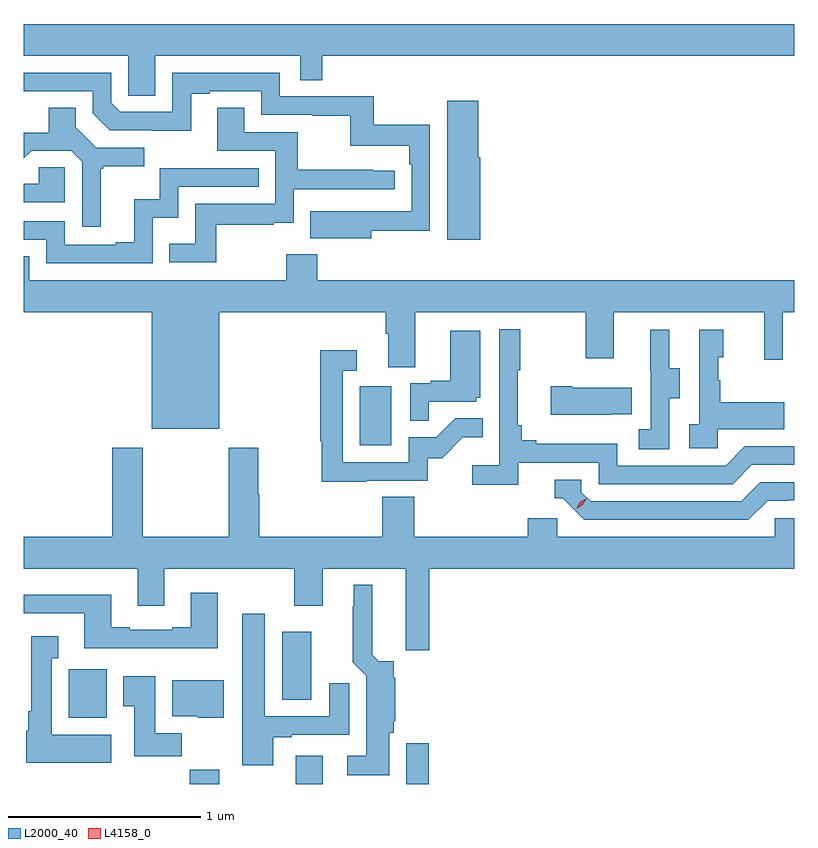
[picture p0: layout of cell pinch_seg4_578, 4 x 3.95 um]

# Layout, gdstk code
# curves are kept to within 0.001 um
import gdstk
lib = gdstk.Library(unit=1e-6, precision=1e-09)
def R(c, l, rs):  # rectangles x0, y0, x1, y1
    for r in rs: c.add(gdstk.rectangle(r[:2], r[2:], *l))
def P(c, l, *ps):  # polygons
    for p in ps: c.add(gdstk.Polygon(p, *l))
L2000_40 = (2000, 40)
L4158_0 = (4158, 0)

pinch_seg4_578 = lib.new_cell('pinch_seg4_578')
R(pinch_seg4_578, L2000_40, [(1030.681,785.045,1030.833,785.12), (1031.231,785.045,1031.371,785.191), (1031.805,785.045,1031.921,785.257), (1030.053,785.39,1030.249,785.64), (1031.162,785.482,1031.311,785.836), (1031.564,786.804,1031.728,787.111)])
P(pinch_seg4_578, L2000_40, [(1029.819,788.828),(1030.362,788.828),(1030.362,788.62),(1030.501,788.62),(1030.501,788.828),(1031.253,788.828),(1031.253,788.701),(1031.369,788.701),(1031.369,788.828),(1033.819,788.828),(1033.819,788.992),(1029.819,788.992)],
  [(1031.623,787.918),(1031.928,787.918),(1031.928,788.47),(1031.635,788.47),(1031.635,788.616),(1031.148,788.616),(1031.148,788.739),(1030.59,788.739),(1030.59,788.535),(1030.32,788.535),(1030.272,788.583),(1030.272,788.739),(1029.819,788.739),(1029.819,788.643),(1030.176,788.643),(1030.176,788.529),(1030.266,788.439),(1030.687,788.438),(1030.687,788.631),(1030.783,788.631),(1030.783,788.643),(1031.052,788.643),(1031.052,788.52),(1031.317,788.52),(1031.317,788.515),(1031.514,788.515),(1031.514,788.36),(1031.819,788.36),(1031.819,788.264),(1031.832,788.264),(1031.832,788.019),(1031.305,788.02),(1031.305,787.88),(1031.623,787.88)],
  [(1032.19,788.301),(1032.178,788.301),(1032.178,788.593),(1032.017,788.593),(1032.017,787.872),(1032.19,787.872)],
  [(1030.219,788.241),(1030.231,788.241),(1030.231,788.252),(1030.444,788.252),(1030.444,788.349),(1030.194,788.349),(1030.087,788.456),(1030.087,788.558),(1029.947,788.558),(1029.947,788.426),(1029.819,788.426),(1029.819,788.294),(1029.859,788.334),(1030.065,788.334),(1030.122,788.277),(1030.122,787.938),(1030.219,787.938)],
  [(1030.819,787.95),(1031.117,787.95),(1031.117,787.961),(1031.22,787.961),(1031.22,788.133),(1031.746,788.133),(1031.746,788.229),(1031.633,788.229),(1031.633,788.234),(1031.24,788.234),(1031.24,788.43),(1030.963,788.43),(1030.963,788.558),(1030.823,788.558),(1030.823,788.334),(1031.124,788.334),(1031.124,788.058),(1030.708,788.058),(1030.708,787.852),(1030.573,787.852),(1030.573,787.755),(1030.819,787.755)],
  [(1030.032,788.247),(1029.895,788.247),(1029.895,788.163),(1029.819,788.163),(1029.819,788.067),(1030.032,788.067)],
  [(1030.488,787.985),(1030.62,787.985),(1030.62,788.148),(1031.039,788.148),(1031.039,788.244),(1030.524,788.244),(1030.524,788.083),(1030.391,788.083),(1030.391,787.858),(1030.295,787.858),(1030.295,787.845),(1030.032,787.845),(1030.032,787.968),(1029.819,787.968),(1029.819,787.872),(1029.936,787.872),(1029.936,787.749),(1030.488,787.749)],
  [(1030.834,787.496),(1031.699,787.496),(1031.699,787.384),(1031.711,787.384),(1031.711,787.21),(1031.851,787.21),(1031.851,787.496),(1032.736,787.496),(1032.736,787.257),(1032.883,787.257),(1032.883,787.496),(1033.664,787.496),(1033.664,787.248),(1033.761,787.248),(1033.761,787.496),(1033.819,787.496),(1033.819,787.66),(1031.342,787.66),(1031.342,787.795),(1031.182,787.795),(1031.182,787.66),(1029.846,787.66),(1029.846,787.787),(1029.819,787.787),(1029.819,787.496),(1030.484,787.496),(1030.484,786.89),(1030.834,786.89)],
  [(1032.386,786.714),(1032.804,786.714),(1032.804,786.603),(1033.501,786.603),(1033.6,786.702),(1033.819,786.702),(1033.819,786.798),(1033.563,786.798),(1033.464,786.699),(1032.9,786.699),(1032.9,786.811),(1032.481,786.811),(1032.481,786.83),(1032.404,786.83),(1032.404,786.907),(1032.385,786.907),(1032.385,787.195),(1032.397,787.195),(1032.397,787.408),(1032.288,787.408),(1032.288,786.7),(1032.147,786.7),(1032.147,786.598),(1032.386,786.598)],
  [(1033.422,786.887),(1033.769,786.887),(1033.769,787.027),(1033.435,787.027),(1033.435,787.142),(1033.425,787.142),(1033.425,787.26),(1033.45,787.26),(1033.45,787.405),(1033.326,787.405),(1033.326,786.914),(1033.275,786.914),(1033.275,786.789),(1033.422,786.789)],
  [(1033.17,787.048),(1033.225,787.048),(1033.225,787.203),(1033.171,787.203),(1033.171,787.405),(1033.073,787.405),(1033.073,787.191),(1033.074,787.191),(1033.074,786.887),(1033.011,786.887),(1033.011,786.784),(1033.17,786.784)],
  [(1031.921,787.029),(1032.168,787.029),(1032.168,787.05),(1032.19,787.05),(1032.19,787.399),(1032.032,787.399),(1032.032,787.138),(1031.933,787.138),(1031.933,787.125),(1031.826,787.125),(1031.826,786.931),(1031.921,786.931)],
  [(1031.597,786.621),(1031.916,786.621),(1031.916,786.738),(1031.992,786.738),(1032.099,786.845),(1032.203,786.845),(1032.203,786.944),(1032.059,786.944),(1031.961,786.846),(1031.817,786.846),(1031.817,786.717),(1031.475,786.717),(1031.475,787.191),(1031.548,787.191),(1031.548,787.297),(1031.359,787.297),(1031.359,786.824),(1031.367,786.824),(1031.367,786.616),(1031.597,786.616)],
  [(1032.869,786.965),(1032.977,786.965),(1032.977,787.102),(1032.667,787.102),(1032.667,787.11),(1032.555,787.11),(1032.555,786.962),(1032.869,786.962)],
  [(1031.924,786.164),(1033.819,786.164),(1033.819,786.426),(1033.719,786.426),(1033.719,786.328),(1032.588,786.328),(1032.588,786.426),(1032.437,786.426),(1032.437,786.328),(1031.846,786.328),(1031.846,786.536),(1031.68,786.536),(1031.68,786.328),(1031.042,786.328),(1031.042,786.551),(1031.037,786.551),(1031.037,786.79),(1030.882,786.79),(1030.882,786.328),(1030.437,786.328),(1030.437,786.79),(1030.277,786.79),(1030.277,786.328),(1029.819,786.328),(1029.819,786.164),(1030.409,786.164),(1030.409,785.97),(1030.549,785.97),(1030.549,786.164),(1031.224,786.164),(1031.224,785.97),(1031.371,785.97),(1031.371,786.164),(1031.801,786.164),(1031.801,785.739),(1031.924,785.739)],
  [(1033.681,786.516),(1033.788,786.516),(1033.788,786.519),(1033.819,786.519),(1033.819,786.612),(1033.644,786.612),(1033.545,786.513),(1032.762,786.513),(1032.714,786.561),(1032.714,786.624),(1032.575,786.624),(1032.575,786.528),(1032.618,786.528),(1032.729,786.417),(1033.582,786.417)],
  [(1031.716,785.31),(1031.741,785.31),(1031.741,785.37),(1031.747,785.37),(1031.747,785.597),(1031.741,785.603),(1031.741,785.682),(1031.662,785.682),(1031.629,785.716),(1031.629,786.079),(1031.531,786.079),(1031.531,785.969),(1031.527,785.969),(1031.527,785.678),(1031.597,785.608),(1031.597,785.191),(1031.499,785.191),(1031.499,785.09),(1031.716,785.09)],
  [(1030.825,786.037),(1030.685,786.037),(1030.685,785.86),(1030.589,785.86),(1030.589,785.847),(1030.369,785.847),(1030.369,785.86),(1030.273,785.86),(1030.273,786.028),(1029.819,786.028),(1029.819,785.931),(1030.133,785.931),(1030.133,785.75),(1030.825,785.75)],
  [(1031.113,785.289),(1031.209,785.289),(1031.209,785.301),(1031.509,785.301),(1031.509,785.569),(1031.405,785.569),(1031.405,785.397),(1031.071,785.397),(1031.071,785.929),(1030.952,785.929),(1030.952,785.142),(1031.113,785.142)],
  [(1030.273,785.302),(1029.964,785.302),(1029.964,785.699),(1029.997,785.699),(1029.997,785.812),(1029.857,785.812),(1029.857,785.422),(1029.842,785.422),(1029.842,785.322),(1029.83,785.322),(1029.83,785.156),(1030.273,785.156)],
  [(1030.64,785.308),(1030.501,785.308),(1030.501,785.605),(1030.334,785.605),(1030.334,785.449),(1030.391,785.449),(1030.391,785.19),(1030.64,785.19)],
  [(1030.858,785.584),(1030.589,785.584),(1030.589,785.396),(1030.722,785.396),(1030.722,785.39),(1030.858,785.39)])
P(pinch_seg4_578, L4158_0, [(1032.691,786.475),(1032.691,786.475),(1032.707,786.507),(1032.738,786.526),(1032.739,786.526),(1032.739,786.526),(1032.722,786.494),(1032.691,786.475)])

lib.write_gds('pinch_seg4_578.gds')
